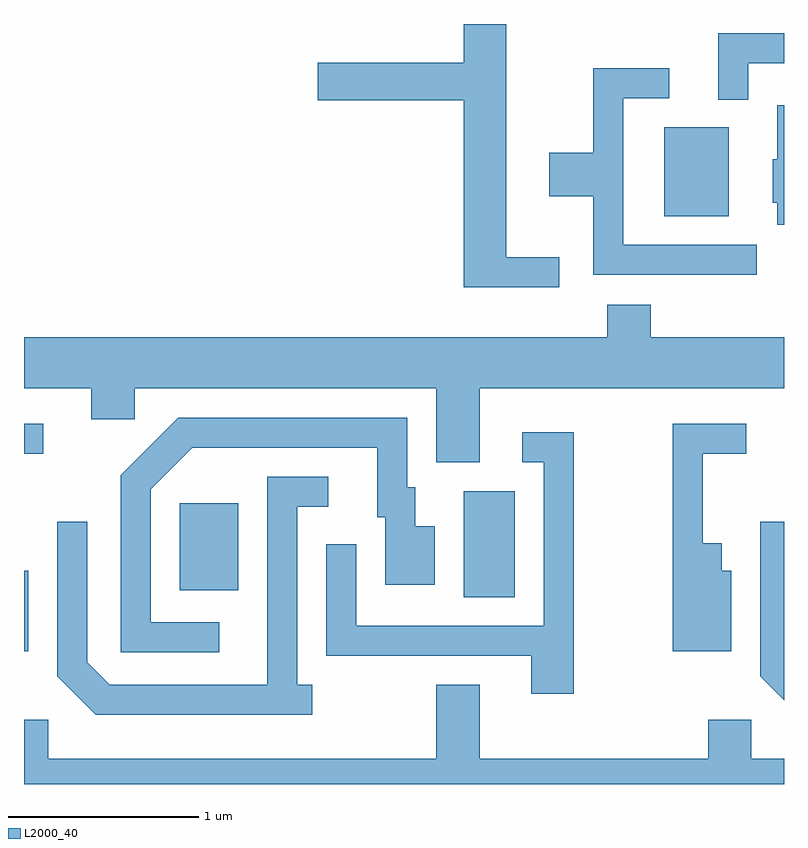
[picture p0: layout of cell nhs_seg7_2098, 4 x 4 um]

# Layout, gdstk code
import gdstk
lib = gdstk.Library(unit=1e-6, precision=1e-09)
def R(c, l, rs):  # rectangles x0, y0, x1, y1
    for r in rs: c.add(gdstk.rectangle(r[:2], r[2:], *l))
def P(c, l, *ps):  # polygons
    for p in ps: c.add(gdstk.Polygon(p, *l))
L2000_40 = (2000, 40)

nhs_seg7_2098 = lib.new_cell('nhs_seg7_2098')
R(nhs_seg7_2098, L2000_40, [(249.611,1692.951,249.634,1693.374), (251.926,1693.236,252.194,1693.794), (250.431,1693.271,250.739,1693.729), (249.611,1693.991,249.713,1694.149), (252.981,1695.241,253.319,1695.709)])
P(nhs_seg7_2098, L2000_40, [(252.428,1695.024),(252.149,1695.024),(252.149,1696.252),(251.926,1696.252),(251.926,1696.049),(251.156,1696.049),(251.156,1695.851),(251.926,1695.851),(251.926,1694.866),(252.428,1694.866)],
  [(253.424,1696.046),(253.611,1696.046),(253.611,1696.204),(253.266,1696.204),(253.266,1695.853),(253.424,1695.853)],
  [(253.468,1695.089),(252.764,1695.089),(252.764,1695.861),(253.008,1695.861),(253.008,1696.019),(252.606,1696.019),(252.606,1695.574),(252.376,1695.574),(252.376,1695.346),(252.606,1695.346),(252.606,1694.931),(253.468,1694.931)],
  [(253.611,1695.824),(253.576,1695.824),(253.576,1695.539),(253.551,1695.539),(253.551,1695.311),(253.576,1695.311),(253.576,1695.196),(253.611,1695.196)],
  [(249.611,1694.336),(249.966,1694.336),(249.966,1694.171),(250.194,1694.171),(250.194,1694.336),(251.781,1694.336),(251.781,1693.946),(252.009,1693.946),(252.009,1694.336),(253.611,1694.336),(253.611,1694.604),(252.909,1694.604),(252.909,1694.774),(252.681,1694.774),(252.681,1694.604),(249.611,1694.604)],
  [(250.638,1693.104),(250.279,1693.104),(250.279,1693.804),(250.497,1694.021),(251.471,1694.021),(251.471,1693.656),(251.511,1693.656),(251.511,1693.301),(251.774,1693.301),(251.774,1693.609),(251.669,1693.609),(251.669,1693.814),(251.629,1693.814),(251.629,1694.179),(250.424,1694.179),(250.121,1693.877),(250.121,1692.946),(250.638,1692.946)],
  [(253.334,1693.374),(253.284,1693.374),(253.284,1693.519),(253.184,1693.519),(253.184,1693.991),(253.413,1693.991),(253.413,1694.149),(253.026,1694.149),(253.026,1692.951),(253.334,1692.951)],
  [(252.504,1694.104),(252.233,1694.104),(252.233,1693.946),(252.346,1693.946),(252.346,1693.084),(251.359,1693.084),(251.359,1693.513),(251.201,1693.513),(251.201,1692.926),(252.281,1692.926),(252.281,1692.726),(252.504,1692.726)],
  [(251.128,1692.774),(251.049,1692.774),(251.049,1693.711),(251.213,1693.711),(251.213,1693.869),(250.891,1693.869),(250.891,1692.774),(250.062,1692.774),(249.944,1692.892),(249.944,1693.633),(249.786,1693.633),(249.786,1692.819),(249.989,1692.616),(251.128,1692.616)],
  [(253.611,1693.633),(253.486,1693.633),(253.486,1692.819),(253.611,1692.694)],
  [(253.611,1692.384),(253.439,1692.384),(253.439,1692.589),(253.211,1692.589),(253.211,1692.384),(252.009,1692.384),(252.009,1692.774),(251.781,1692.774),(251.781,1692.384),(249.739,1692.384),(249.739,1692.589),(249.611,1692.589),(249.611,1692.252),(253.611,1692.252)])

lib.write_gds('nhs_seg7_2098.gds')
